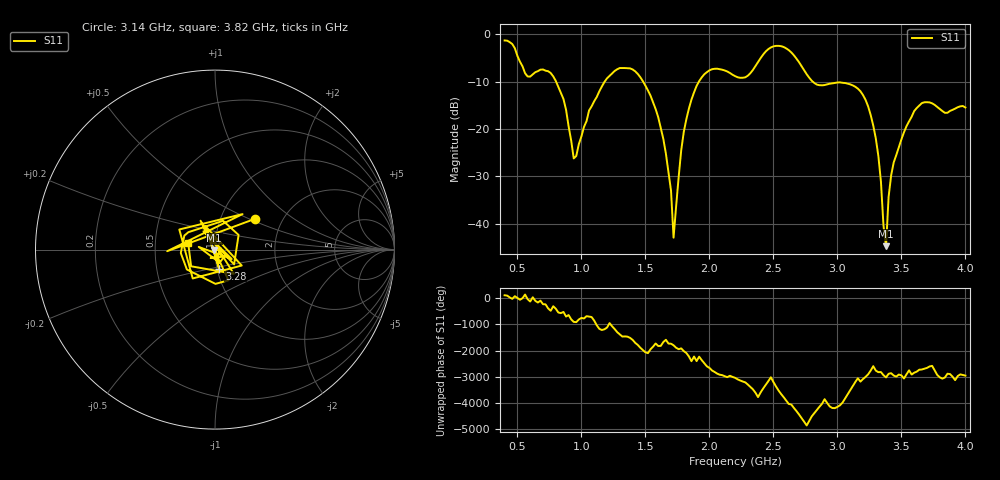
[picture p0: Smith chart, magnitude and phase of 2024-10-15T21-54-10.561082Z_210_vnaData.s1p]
! Created with skrf (http://scikit-rf.org).
# Hz S RI R 50.0
!freq ReS11 ImS11
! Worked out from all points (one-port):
!   181 points, 400 MHz to 4 GHz, reference 50 ohm
!   lowest |S11| = -44.8 dB at 3.38 GHz (marker M1), VSWR 1.01, Z = 49.5 - j0.311 ohm
!   |S11| at or under -10 dB: 802.3 MHz to 1.181 GHz (379.2 MHz wide, 38.2 % of centre); 1.482 GHz to 1.918 GHz (435.5 MHz wide, 25.6 % of centre); 2.808 GHz to end of sweep
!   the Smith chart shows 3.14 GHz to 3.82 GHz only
!   S11 on the Smith chart (normalised r, x): 3.14 GHz: 1.45, +0.54; 3.28 GHz: 1.02, -0.22; 3.82 GHz: 0.74, +0.06
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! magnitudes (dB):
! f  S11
! 400 MHz  -1.3
! 860 MHz  -13.7
! 940 MHz  -26.2
! 1.06 GHz  -16.1
! 1.3 GHz  -7.1
! 1.44 GHz  -8.4
! 1.58 GHz  -15.8
! 1.68 GHz  -29.1
! 1.7 GHz  -33.0
! 1.72 GHz  -43.0
! 1.76 GHz  -30.1
! 1.82 GHz  -17.9
! 1.92 GHz  -9.9
! 2.2 GHz  -8.8
! 2.5 GHz  -2.5
! 2.66 GHz  -4.4
! 2.84 GHz  -10.6
! 3.1 GHz  -10.6
! 3.14 GHz  -11.1
! 3.28 GHz  -19.3
! 3.32 GHz  -25.7
! 3.38 GHz  -44.8
! 3.4 GHz  -34.4
! 3.42 GHz  -29.8
! 3.56 GHz  -18.4
! 3.68 GHz  -14.4
! 3.82 GHz  -16.2
! 4 GHz  -15.5
